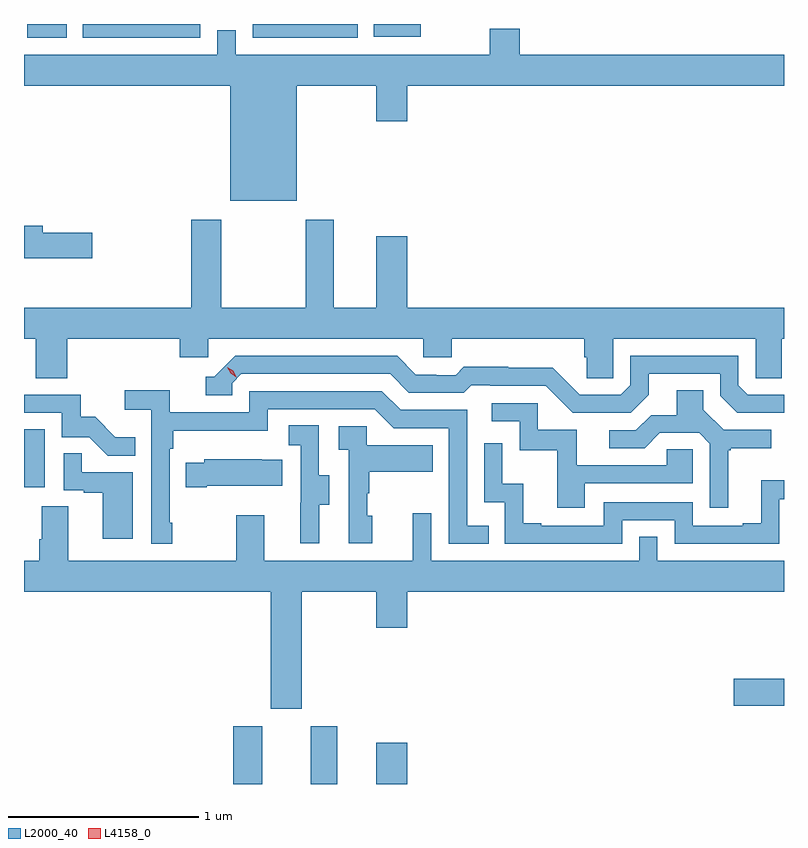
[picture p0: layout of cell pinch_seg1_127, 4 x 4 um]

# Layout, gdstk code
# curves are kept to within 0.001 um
import gdstk
lib = gdstk.Library(unit=1e-6, precision=1e-09)
def R(c, l, rs):  # rectangles x0, y0, x1, y1
    for r in rs: c.add(gdstk.rectangle(r[:2], r[2:], *l))
def P(c, l, *ps):  # polygons
    for p in ps: c.add(gdstk.Polygon(p, *l))
L2000_40 = (2000, 40)
L4158_0 = (4158, 0)

pinch_seg1_127 = lib.new_cell('pinch_seg1_127')
R(pinch_seg1_127, L2000_40, [(1075.343,541.397,1075.495,541.702), (1075.751,541.397,1075.891,541.702), (1076.096,541.397,1076.26,541.615), (1077.978,541.808,1078.242,541.95), (1074.242,542.958,1074.352,543.265), (1074.258,545.325,1074.467,545.397), (1074.552,545.325,1075.17,545.397), (1075.446,545.325,1075.998,545.397), (1076.083,545.331,1076.329,545.397)])
P(pinch_seg1_127, L2000_40, [(1075.678,545.072),(1076.096,545.072),(1076.096,544.884),(1076.26,544.884),(1076.26,545.072),(1078.242,545.072),(1078.242,545.236),(1076.852,545.236),(1076.852,545.371),(1076.692,545.371),(1076.692,545.236),(1075.356,545.236),(1075.356,545.363),(1075.26,545.363),(1075.26,545.236),(1074.242,545.236),(1074.242,545.072),(1075.328,545.072),(1075.328,544.466),(1075.678,544.466)],
  [(1074.47,543.74),(1075.061,543.74),(1075.061,543.642),(1075.212,543.642),(1075.212,543.74),(1076.343,543.74),(1076.343,543.642),(1076.493,543.642),(1076.493,543.74),(1077.191,543.74),(1077.191,543.642),(1077.205,543.642),(1077.205,543.532),(1077.342,543.532),(1077.342,543.74),(1078.092,543.74),(1078.092,543.532),(1078.231,543.532),(1078.231,543.74),(1078.242,543.74),(1078.242,543.904),(1076.26,543.904),(1076.26,544.279),(1076.096,544.279),(1076.096,543.904),(1075.873,543.904),(1075.873,544.366),(1075.726,544.366),(1075.726,543.904),(1075.281,543.904),(1075.281,544.366),(1075.121,544.366),(1075.121,543.904),(1074.242,543.904),(1074.242,543.74),(1074.305,543.74),(1074.305,543.532),(1074.47,543.532)],
  [(1074.601,544.298),(1074.34,544.298),(1074.34,544.334),(1074.242,544.334),(1074.242,544.163),(1074.601,544.163)],
  [(1078.242,543.447),(1078.05,543.447),(1078.002,543.495),(1078.002,543.651),(1077.432,543.651),(1077.432,543.495),(1077.384,543.447),(1077.168,543.447),(1077.026,543.589),(1076.79,543.589),(1076.79,543.592),(1076.557,543.592),(1076.515,543.549),(1076.412,543.549),(1076.412,543.552),(1076.305,543.552),(1076.206,543.651),(1075.353,543.651),(1075.242,543.54),(1075.199,543.54),(1075.199,543.444),(1075.338,543.444),(1075.338,543.507),(1075.386,543.555),(1076.169,543.555),(1076.268,543.456),(1076.557,543.456),(1076.596,543.495),(1076.695,543.495),(1076.695,543.492),(1076.988,543.492),(1077.129,543.351),(1077.435,543.351),(1077.529,543.445),(1077.529,543.555),(1077.906,543.555),(1077.906,543.441),(1077.996,543.351),(1078.242,543.35)],
  [(1077.949,543.153),(1077.961,543.153),(1077.961,543.164),(1078.174,543.164),(1078.174,543.261),(1077.924,543.261),(1077.817,543.368),(1077.817,543.47),(1077.677,543.47),(1077.677,543.338),(1077.542,543.338),(1077.462,543.258),(1077.321,543.258),(1077.321,543.165),(1077.508,543.165),(1077.589,543.246),(1077.795,543.246),(1077.852,543.189),(1077.852,542.85),(1077.949,542.85)],
  [(1075.021,542.773),(1075.008,542.773),(1075.008,543.161),(1075.028,543.161),(1075.028,543.257),(1075.524,543.257),(1075.524,543.369),(1076.088,543.369),(1076.187,543.27),(1076.478,543.27),(1076.478,542.661),(1076.687,542.661),(1076.687,542.757),(1076.574,542.757),(1076.574,543.366),(1076.224,543.366),(1076.125,543.465),(1075.428,543.465),(1075.428,543.354),(1075.01,543.354),(1075.01,543.47),(1074.771,543.47),(1074.771,543.368),(1074.912,543.368),(1074.912,542.661),(1075.021,542.661)],
  [(1074.827,543.223),(1074.723,543.223),(1074.616,543.33),(1074.54,543.33),(1074.54,543.447),(1074.242,543.447),(1074.242,543.351),(1074.441,543.351),(1074.441,543.222),(1074.585,543.222),(1074.683,543.124),(1074.827,543.124)],
  [(1077.193,542.979),(1077.762,542.979),(1077.762,543.159),(1077.625,543.159),(1077.625,543.075),(1077.151,543.075),(1077.151,543.261),(1076.946,543.261),(1076.946,543.402),(1076.703,543.402),(1076.703,543.306),(1076.85,543.306),(1076.85,543.153),(1077.049,543.153),(1077.049,542.85),(1077.193,542.85)],
  [(1075.795,542.866),(1075.849,542.866),(1075.849,543.021),(1075.794,543.021),(1075.794,543.284),(1075.635,543.284),(1075.635,543.181),(1075.698,543.181),(1075.698,542.877),(1075.697,542.877),(1075.697,542.664),(1075.795,542.664)],
  [(1076.074,542.808),(1076.049,542.808),(1076.049,542.927),(1076.059,542.927),(1076.059,543.041),(1076.393,543.041),(1076.393,543.181),(1076.046,543.181),(1076.046,543.279),(1075.899,543.279),(1075.899,543.155),(1075.95,543.155),(1075.95,542.664),(1076.074,542.664)],
  [(1077.39,542.784),(1077.666,542.784),(1077.666,542.661),(1078.218,542.661),(1078.218,542.897),(1078.242,542.897),(1078.242,542.995),(1078.121,542.995),(1078.121,542.77),(1078.025,542.77),(1078.025,542.757),(1077.762,542.757),(1077.762,542.88),(1077.294,542.88),(1077.294,542.757),(1076.965,542.757),(1076.965,542.77),(1076.87,542.77),(1076.87,542.978),(1076.76,542.978),(1076.76,543.19),(1076.664,543.19),(1076.664,542.88),(1076.772,542.88),(1076.772,542.661),(1077.39,542.661)],
  [(1074.814,543.039),(1074.545,543.039),(1074.545,543.137),(1074.45,543.137),(1074.45,542.943),(1074.557,542.943),(1074.557,542.931),(1074.656,542.931),(1074.656,542.688),(1074.814,542.688)],
  [(1075.204,542.966),(1075.601,542.966),(1075.601,543.103),(1075.493,543.103),(1075.493,543.106),(1075.191,543.106),(1075.191,543.088),(1075.093,543.088),(1075.093,542.959),(1075.204,542.959)],
  [(1078.242,542.572),(1077.576,542.572),(1077.576,542.699),(1077.48,542.699),(1077.48,542.572),(1076.385,542.572),(1076.385,542.821),(1076.288,542.821),(1076.288,542.572),(1075.507,542.572),(1075.507,542.812),(1075.36,542.812),(1075.36,542.572),(1074.475,542.572),(1074.475,542.858),(1074.335,542.858),(1074.335,542.684),(1074.323,542.684),(1074.323,542.572),(1074.242,542.572),(1074.242,542.408),(1075.541,542.408),(1075.541,541.794),(1075.705,541.794),(1075.705,542.408),(1076.096,542.408),(1076.096,542.22),(1076.26,542.22),(1076.26,542.408),(1078.242,542.408)])
P(pinch_seg1_127, L4158_0, [(1075.36,543.539),(1075.329,543.558),(1075.313,543.591),(1075.313,543.591),(1075.313,543.591),(1075.344,543.572),(1075.36,543.54),(1075.36,543.539)])

lib.write_gds('pinch_seg1_127.gds')
